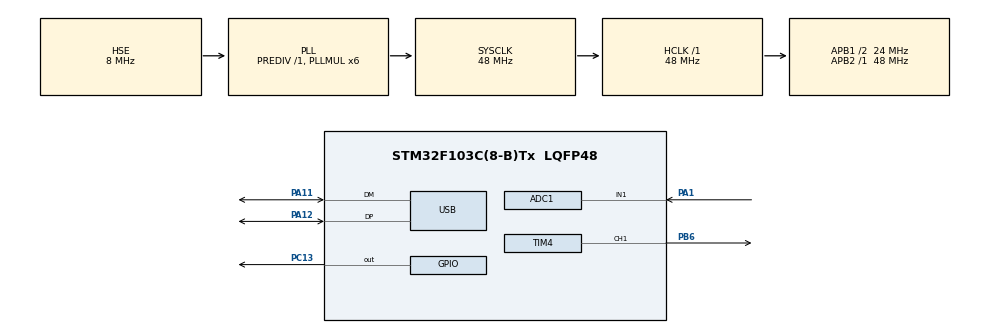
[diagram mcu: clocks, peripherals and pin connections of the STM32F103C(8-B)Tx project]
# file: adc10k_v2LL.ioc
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ADC1.Channel-0\#ChannelRegularConversion=ADC_CHANNEL_1
ADC1.ContinuousConvMode=DISABLE
ADC1.ExternalTrigConv=ADC_EXTERNALTRIGCONV_T3_TRGO
ADC1.NbrOfConversion=1
ADC1.NbrOfConversionFlag=1
ADC1.Rank-0\#ChannelRegularConversion=1
ADC1.SamplingTime-0\#ChannelRegularConversion=ADC_SAMPLETIME_55CYCLES_5
ADC1.master=1
Dma.ADC1.0.Direction=DMA_PERIPH_TO_MEMORY
Dma.ADC1.0.Instance=DMA1_Channel1
Dma.ADC1.0.MemDataAlignment=DMA_MDATAALIGN_HALFWORD
Dma.ADC1.0.MemInc=DMA_MINC_ENABLE
Dma.ADC1.0.Mode=DMA_CIRCULAR
Dma.ADC1.0.PeriphDataAlignment=DMA_PDATAALIGN_HALFWORD
Dma.ADC1.0.PeriphInc=DMA_PINC_DISABLE
Dma.ADC1.0.Priority=DMA_PRIORITY_LOW
Dma.Request0=ADC1
Mcu.Family=STM32F1
Mcu.Name=STM32F103C(8-B)Tx
Mcu.Package=LQFP48
NVIC.DMA1_Channel1_IRQn=true\:0\:0\:false\:false\:true\:false\:true
NVIC.PriorityGroup=NVIC_PRIORITYGROUP_4
NVIC.USB_LP_CAN1_RX0_IRQn=true\:0\:0\:false\:false\:true\:false\:true
PA1.Signal=ADCx_IN1
PA11.Mode=Device
PA11.Signal=USB_DM
PA12.Mode=Device
PA12.Signal=USB_DP
PA13.Mode=Serial_Wire
PA13.Signal=SYS_JTMS-SWDIO
PA14.Mode=Serial_Wire
PA14.Signal=SYS_JTCK-SWCLK
PB6.GPIO_ModeDefaultPP=GPIO_MODE_AF_PP
PB6.GPIO_Speed=GPIO_SPEED_FREQ_LOW
PB6.Signal=S_TIM4_CH1
PC13-TAMPER-RTC.Signal=GPIO_Output
PC14-OSC32_IN.Mode=LSE-External-Oscillator
PC14-OSC32_IN.Signal=RCC_OSC32_IN
PC15-OSC32_OUT.Mode=LSE-External-Oscillator
PC15-OSC32_OUT.Signal=RCC_OSC32_OUT
PD0-OSC_IN.Mode=HSE-External-Oscillator
PD0-OSC_IN.Signal=RCC_OSC_IN
PD1-OSC_OUT.Mode=HSE-External-Oscillator
PD1-OSC_OUT.Signal=RCC_OSC_OUT
ProjectManager.HeapSize=0x200
ProjectManager.StackSize=0x400
ProjectManager.TargetToolchain=MDK-ARM V5.27
RCC.ADCPresc=RCC_ADCPCLK2_DIV4
RCC.AHBFreq_Value=48000000
RCC.APB1CLKDivider=RCC_HCLK_DIV2
RCC.APB1Freq_Value=24000000
RCC.APB1TimFreq_Value=48000000
RCC.APB2Freq_Value=48000000
RCC.APB2TimFreq_Value=48000000
RCC.HCLKFreq_Value=48000000
RCC.PLLMUL=RCC_PLL_MUL6
RCC.PLLSourceVirtual=RCC_PLLSOURCE_HSE
RCC.SYSCLKFreq_VALUE=48000000
RCC.SYSCLKSource=RCC_SYSCLKSOURCE_PLLCLK
RCC.USBFreq_Value=48000000
SH.ADCx_IN1.0=ADC1_IN1,IN1
SH.S_TIM4_CH1.0=TIM4_CH1,PWM Generation1 CH1
TIM3.AutoReloadPreload=TIM_AUTORELOAD_PRELOAD_DISABLE
TIM3.Channel-Output\ Compare4\ No\ Output=TIM_CHANNEL_4
TIM3.Period=10
TIM3.Prescaler=480
TIM3.TIM_MasterOutputTrigger=TIM_TRGO_UPDATE
TIM4.Channel-PWM\ Generation1\ CH1=TIM_CHANNEL_1
TIM4.OCFastMode_PWM-PWM\ Generation1\ CH1=TIM_OCFAST_ENABLE
TIM4.Period=1000
TIM4.Prescaler=480
USB_DEVICE.CLASS_NAME_FS=CDC
USB_DEVICE.VirtualMode=Cdc
USB_DEVICE.VirtualModeFS=Cdc_FS
VP_TIM3_VS_ClockSourceINT.Mode=Internal
VP_TIM3_VS_no_output4.Mode=Output Compare4 No Output
VP_TIM4_VS_ClockSourceINT.Mode=Internal
VP_USB_DEVICE_VS_USB_DEVICE_CDC_FS.Mode=CDC_FS
board=custom

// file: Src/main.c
/* USER CODE BEGIN Header */
/**
  ******************************************************************************
  * @author         : Andrei Cherny
  * @file           : main.c
  * @brief          : Test STM32F103C8 program body
  ******************************************************************************
  * @details
  * Назначение программы:
  * С частотой 10 кГц, по таймеру, программа опрашивает один канал ADC
  * Результаты измерений помещаются в буфер с использованием DMA
  * По заполнению буфера (100 слов), вычисляется среднее значение за 10 мс
  * Полученное среднее значение выводится PWM на один из выводов.
  * Вычисляется среднее значение измерений за 1с и выводится через USB, на VCP в текстовом виде
  * Это же среднее значение выводится через SWO (по отладке) в среду Keil uVision.
  * Благодаря STM32CubeMX все делается достаточно просто. Большая часть программирования выполненна автоматической средой.
  * Ручной код получается очень компактным и весь сосредоточен в файле main.c .
  * Принцип работы платы очень прост. На вход ADC1 IN1 (PA1, pin11) поступает измеряемое напряжение. С помощью таймера TIM3 channel 4
  * организован циклический опрос ADC1 IN1 с частотой 10 кГц и загрузкой измеренных значений с помощью DMA1 в буфер. По заполнению буфера
  * вызывается ADC_DMA_TransferComplete_Callback() и переводит переменную convCompleted в True.
  * После чего находим среднее арифметическое bufferADC за 10 мс.
  * Полученное значение мы выводим через pin PB6 используя PWM реализованный на таймере TIM4 channel 1.
  * Проведя 100 циклов по 10 мс мы находим среднее значение за 1с мы выводим результат через USB VCP в текстовом виде, в формате типа "1500 mV \r".
  * Вывод результата мы дублируем в окно отладчика Keil через SWD.
  * @attention
  *
  * <h2><center>&copy; Copyright (c) 2020 Andrei Cherny.
  * All rights reserved.</center></h2>
  *
  * This software component is licensed by Andrei Cherny under Ultimate Liberty license
  * SLA0044, the "License"; You may not use this file except in compliance with
  * the License. You may obtain a copy of the License at:
  *                             www.st.com/SLA0044
  *
  ******************************************************************************
*/
/* USER CODE END Header */

#include "main.h"
#include "usb_device.h"

/* USER CODE BEGIN Includes */
#include "string.h"
#include "usbd_cdc_if.h"
/* USER CODE END Includes */

/* USER CODE BEGIN PD */
#define DMA_BUFF_SIZE 100
/* USER CODE END PD */

/* USER CODE BEGIN PV */
uint32_t sum100point;
uint16_t bufferADC[DMA_BUFF_SIZE];
volatile uint8_t convCompleted;
/* USER CODE END PV */

void SystemClock_Config(void);
static void MX_GPIO_Init(void);
static void MX_DMA_Init(void);
static void MX_ADC1_Init(void);
static void MX_TIM3_Init(void);
static void MX_TIM4_Init(void);
/* USER CODE BEGIN PFP */
// кусок для SWO
#include <stdio.h>
#define ITM_Port8(n)    (*((volatile unsigned char *)(0xE0000000+4*n)))
#define ITM_Port16(n)   (*((volatile unsigned short*)(0xE0000000+4*n)))
#define ITM_Port32(n)   (*((volatile unsigned long *)(0xE0000000+4*n)))
#define DEMCR           (*((volatile unsigned long *)(0xE000EDFC)))
#define TRCENA          0x01000000

struct __FILE { int handle; /* Add whatever you need here */ };
FILE __stdout;
FILE __stdin;

int fputc(int ch, FILE *f) {
   if (DEMCR & TRCENA) {

while (ITM_Port32(0) == 0);
    ITM_Port8(0) = ch;
  }
  return(ch);
}
/* USER CODE END PFP */

int main(void)
{
  /* USER CODE BEGIN 1 */
	float summ,value100;
	char bufForUSB[80];

  /* USER CODE END 1 */

  /* MCU Configuration--------------------------------------------------------*/

  /* Reset of all peripherals, Initializes the Flash interface and the Systick. */
  HAL_Init();

  /* Configure the system clock */
  SystemClock_Config();

  /* Initialize all configured peripherals */
  MX_GPIO_Init();
  MX_DMA_Init();
  MX_USB_DEVICE_Init();
  MX_ADC1_Init();
  MX_TIM3_Init();
  MX_TIM4_Init();
  /* USER CODE BEGIN 2 */
/*!
Настраиваем ассоциированный с ADC1 канал DMA1
@param[out] bufferADC Целевая область памяти для DMA1
@param[in] DMA_BUFF_SIZE Количество измерений и размер буффера
*/
  LL_DMA_ConfigAddresses(DMA1,
                         LL_DMA_CHANNEL_1,
                         LL_ADC_DMA_GetRegAddr(ADC1, LL_ADC_DMA_REG_REGULAR_DATA),
                         (uint32_t)&bufferADC,
                         LL_DMA_DIRECTION_PERIPH_TO_MEMORY);
  LL_DMA_SetDataLength(DMA1, LL_DMA_CHANNEL_1, DMA_BUFF_SIZE);
  LL_DMA_EnableIT_TC(DMA1, LL_DMA_CHANNEL_1);
  LL_DMA_EnableIT_TE(DMA1, LL_DMA_CHANNEL_1);
  LL_DMA_EnableChannel(DMA1, LL_DMA_CHANNEL_1);
  LL_ADC_Enable(ADC1);
  LL_ADC_REG_StartConversionSWStart(ADC1); // запускаем ADC
	LL_TIM_EnableCounter(TIM3); // пускаем таймер ADC

/*!
Настраиваем ассоциированный с PWM канал 1 на таймере 4
выходной сигнал имеем на ножке PB6
*/
 LL_TIM_CC_EnableChannel(TIM4, LL_TIM_CHANNEL_CH1 | LL_TIM_CHANNEL_CH2 | \
                          LL_TIM_CHANNEL_CH3 | LL_TIM_CHANNEL_CH4);
  LL_TIM_EnableCounter(TIM4);

  /* USER CODE END 2 */

  /* Infinite loop */
  while (1)
  {

    /* USER CODE BEGIN 3 */
/*! в задании не оговаривалась особая точность временных интервалов,
1 с отслеживаем как последовательность 10 мс интервалов
усредняем 100 10мс средних значения (1с) и выводим через USB-VPC
@param  sum100point аккумулятор и среднее значение ADC1 за 10 мс
@param  value100    среднее значение ADC1 за 10 мс в мВ
@param  summ        аккумулятор и среднее значение ADC1 в мВ за 1 с
*/
		sum100point =0;
		summ = 0;
		for (int j=0; j++<100;){
		while(!convCompleted); // ждем готовность измерений
		convCompleted = 0; // сбрасываем флаг готовности
		sum100point =0;
		for(int i = 0; i < DMA_BUFF_SIZE; i++)
		{
			sum100point = bufferADC[i];
		}
		sum100point /=100; // среднее за 10 мс в единицах
		value100 = (float)(sum100point * 3300 ) / 4095.;// нормируем по опорному
		summ += value100;
		// устанавливаем уровень ШИМ, пересчет масштаба не требуется
		 LL_TIM_OC_SetCompareCH1(TIM4,sum100point);
	  }
		// кидаем результат на USB
		summ /=100;
		snprintf(bufForUSB, 80, " %f  mV \r", summ );
		CDC_Transmit_FS((uint8_t*)bufForUSB, strlen(bufForUSB));
		// дублируем вывод на SWD
		 printf("%s", bufForUSB);
	}
  /* USER CODE END 3 */
}

void SystemClock_Config(void)
{
  RCC_OscInitTypeDef RCC_OscInitStruct = {0};
  RCC_ClkInitTypeDef RCC_ClkInitStruct = {0};
  RCC_PeriphCLKInitTypeDef PeriphClkInit = {0};

  /** Initializes the CPU, AHB and APB busses clocks
  */
  RCC_OscInitStruct.OscillatorType = RCC_OSCILLATORTYPE_HSE;
  RCC_OscInitStruct.HSEState = RCC_HSE_ON;
  RCC_OscInitStruct.HSEPredivValue = RCC_HSE_PREDIV_DIV1;
  RCC_OscInitStruct.HSIState = RCC_HSI_ON;
  RCC_OscInitStruct.PLL.PLLState = RCC_PLL_ON;
  RCC_OscInitStruct.PLL.PLLSource = RCC_PLLSOURCE_HSE;
  RCC_OscInitStruct.PLL.PLLMUL = RCC_PLL_MUL6;
  if (HAL_RCC_OscConfig(&RCC_OscInitStruct) != HAL_OK)
  {
    Error_Handler();
  }
  /** Initializes the CPU, AHB and APB busses clocks
  */
  RCC_ClkInitStruct.ClockType = RCC_CLOCKTYPE_HCLK|RCC_CLOCKTYPE_SYSCLK
                              |RCC_CLOCKTYPE_PCLK1|RCC_CLOCKTYPE_PCLK2;
  RCC_ClkInitStruct.SYSCLKSource = RCC_SYSCLKSOURCE_PLLCLK;
  RCC_ClkInitStruct.AHBCLKDivider = RCC_SYSCLK_DIV1;
  RCC_ClkInitStruct.APB1CLKDivider = RCC_HCLK_DIV2;
  RCC_ClkInitStruct.APB2CLKDivider = RCC_HCLK_DIV1;

  if (HAL_RCC_ClockConfig(&RCC_ClkInitStruct, FLASH_LATENCY_1) != HAL_OK)
  {
    Error_Handler();
  }
  PeriphClkInit.PeriphClockSelection = RCC_PERIPHCLK_ADC|RCC_PERIPHCLK_USB;
  PeriphClkInit.AdcClockSelection = RCC_ADCPCLK2_DIV4;
  PeriphClkInit.UsbClockSelection = RCC_USBCLKSOURCE_PLL;
  if (HAL_RCCEx_PeriphCLKConfig(&PeriphClkInit) != HAL_OK)
  {
    Error_Handler();
  }
}

static void MX_ADC1_Init(void)
{

  LL_ADC_InitTypeDef ADC_InitStruct = {0};
  LL_ADC_CommonInitTypeDef ADC_CommonInitStruct = {0};
  LL_ADC_REG_InitTypeDef ADC_REG_InitStruct = {0};

  LL_GPIO_InitTypeDef GPIO_InitStruct = {0};

  /* Peripheral clock enable */
  LL_APB2_GRP1_EnableClock(LL_APB2_GRP1_PERIPH_ADC1);

  LL_APB2_GRP1_EnableClock(LL_APB2_GRP1_PERIPH_GPIOA);
  /**ADC1 GPIO Configuration
  PA1   ------> ADC1_IN1
  */
  GPIO_InitStruct.Pin = LL_GPIO_PIN_1;
  GPIO_InitStruct.Mode = LL_GPIO_MODE_ANALOG;
  LL_GPIO_Init(GPIOA, &GPIO_InitStruct);

  /* ADC1 DMA Init */

  /* ADC1 Init */
  LL_DMA_SetDataTransferDirection(DMA1, LL_DMA_CHANNEL_1, LL_DMA_DIRECTION_PERIPH_TO_MEMORY);

  LL_DMA_SetChannelPriorityLevel(DMA1, LL_DMA_CHANNEL_1, LL_DMA_PRIORITY_LOW);

  LL_DMA_SetMode(DMA1, LL_DMA_CHANNEL_1, LL_DMA_MODE_CIRCULAR);

  LL_DMA_SetPeriphIncMode(DMA1, LL_DMA_CHANNEL_1, LL_DMA_PERIPH_NOINCREMENT);

  LL_DMA_SetMemoryIncMode(DMA1, LL_DMA_CHANNEL_1, LL_DMA_MEMORY_INCREMENT);

  LL_DMA_SetPeriphSize(DMA1, LL_DMA_CHANNEL_1, LL_DMA_PDATAALIGN_HALFWORD);

  LL_DMA_SetMemorySize(DMA1, LL_DMA_CHANNEL_1, LL_DMA_MDATAALIGN_HALFWORD);

  /** Common config
  */
  ADC_InitStruct.DataAlignment = LL_ADC_DATA_ALIGN_RIGHT;
  ADC_InitStruct.SequencersScanMode = LL_ADC_SEQ_SCAN_DISABLE;
  LL_ADC_Init(ADC1, &ADC_InitStruct);
  ADC_CommonInitStruct.Multimode = LL_ADC_MULTI_INDEPENDENT;
  LL_ADC_CommonInit(__LL_ADC_COMMON_INSTANCE(ADC1), &ADC_CommonInitStruct);
  ADC_REG_InitStruct.TriggerSource = LL_ADC_REG_TRIG_EXT_TIM3_TRGO;
  ADC_REG_InitStruct.SequencerLength = LL_ADC_REG_SEQ_SCAN_DISABLE;
  ADC_REG_InitStruct.SequencerDiscont = LL_ADC_REG_SEQ_DISCONT_DISABLE;
  ADC_REG_InitStruct.ContinuousMode = LL_ADC_REG_CONV_SINGLE;
  ADC_REG_InitStruct.DMATransfer = LL_ADC_REG_DMA_TRANSFER_UNLIMITED;
  LL_ADC_REG_Init(ADC1, &ADC_REG_InitStruct);
  /** Configure Regular Channel
  */
  LL_ADC_REG_SetSequencerRanks(ADC1, LL_ADC_REG_RANK_1, LL_ADC_CHANNEL_1);
  LL_ADC_SetChannelSamplingTime(ADC1, LL_ADC_CHANNEL_1, LL_ADC_SAMPLINGTIME_55CYCLES_5);

}

static void MX_TIM3_Init(void)
{

  LL_TIM_InitTypeDef TIM_InitStruct = {0};
  LL_TIM_OC_InitTypeDef TIM_OC_InitStruct = {0};

  /* Peripheral clock enable */
  LL_APB1_GRP1_EnableClock(LL_APB1_GRP1_PERIPH_TIM3);

  TIM_InitStruct.Prescaler = 480;
  TIM_InitStruct.CounterMode = LL_TIM_COUNTERMODE_UP;
  TIM_InitStruct.Autoreload = 10;
  TIM_InitStruct.ClockDivision = LL_TIM_CLOCKDIVISION_DIV1;
  LL_TIM_Init(TIM3, &TIM_InitStruct);
  LL_TIM_DisableARRPreload(TIM3);
  LL_TIM_SetClockSource(TIM3, LL_TIM_CLOCKSOURCE_INTERNAL);
  TIM_OC_InitStruct.OCMode = LL_TIM_OCMODE_FROZEN;
  TIM_OC_InitStruct.OCState = LL_TIM_OCSTATE_DISABLE;
  TIM_OC_InitStruct.OCNState = LL_TIM_OCSTATE_DISABLE;
  TIM_OC_InitStruct.CompareValue = 0;
  TIM_OC_InitStruct.OCPolarity = LL_TIM_OCPOLARITY_HIGH;
  LL_TIM_OC_Init(TIM3, LL_TIM_CHANNEL_CH4, &TIM_OC_InitStruct);
  LL_TIM_OC_DisableFast(TIM3, LL_TIM_CHANNEL_CH4);
  LL_TIM_SetTriggerOutput(TIM3, LL_TIM_TRGO_UPDATE);
  LL_TIM_DisableMasterSlaveMode(TIM3);

}

static void MX_TIM4_Init(void)
{

  LL_TIM_InitTypeDef TIM_InitStruct = {0};
  LL_TIM_OC_InitTypeDef TIM_OC_InitStruct = {0};

  LL_GPIO_InitTypeDef GPIO_InitStruct = {0};

  /* Peripheral clock enable */
  LL_APB1_GRP1_EnableClock(LL_APB1_GRP1_PERIPH_TIM4);

  TIM_InitStruct.Prescaler = 480;
  TIM_InitStruct.CounterMode = LL_TIM_COUNTERMODE_UP;
  TIM_InitStruct.Autoreload = 1000;
  TIM_InitStruct.ClockDivision = LL_TIM_CLOCKDIVISION_DIV1;
  LL_TIM_Init(TIM4, &TIM_InitStruct);
  LL_TIM_DisableARRPreload(TIM4);
  LL_TIM_SetClockSource(TIM4, LL_TIM_CLOCKSOURCE_INTERNAL);
  LL_TIM_OC_EnablePreload(TIM4, LL_TIM_CHANNEL_CH1);
  TIM_OC_InitStruct.OCMode = LL_TIM_OCMODE_PWM1;
  TIM_OC_InitStruct.OCState = LL_TIM_OCSTATE_DISABLE;
  TIM_OC_InitStruct.OCNState = LL_TIM_OCSTATE_DISABLE;
  TIM_OC_InitStruct.CompareValue = 0;
  TIM_OC_InitStruct.OCPolarity = LL_TIM_OCPOLARITY_HIGH;
  LL_TIM_OC_Init(TIM4, LL_TIM_CHANNEL_CH1, &TIM_OC_InitStruct);
  LL_TIM_OC_EnableFast(TIM4, LL_TIM_CHANNEL_CH1);
  LL_TIM_SetTriggerOutput(TIM4, LL_TIM_TRGO_RESET);
  LL_TIM_DisableMasterSlaveMode(TIM4);
  LL_APB2_GRP1_EnableClock(LL_APB2_GRP1_PERIPH_GPIOB);
  /**TIM4 GPIO Configuration
  PB6   ------> TIM4_CH1
  */
  GPIO_InitStruct.Pin = LL_GPIO_PIN_6;
  GPIO_InitStruct.Mode = LL_GPIO_MODE_ALTERNATE;
  GPIO_InitStruct.Speed = LL_GPIO_SPEED_FREQ_LOW;
  GPIO_InitStruct.OutputType = LL_GPIO_OUTPUT_PUSHPULL;
  LL_GPIO_Init(GPIOB, &GPIO_InitStruct);

}

static void MX_DMA_Init(void)
{

  /* Init with LL driver */
  /* DMA controller clock enable */
  LL_AHB1_GRP1_EnableClock(LL_AHB1_GRP1_PERIPH_DMA1);

  /* DMA interrupt init */
  /* DMA1_Channel1_IRQn interrupt configuration */
  NVIC_SetPriority(DMA1_Channel1_IRQn, NVIC_EncodePriority(NVIC_GetPriorityGrouping(),0, 0));
  NVIC_EnableIRQ(DMA1_Channel1_IRQn);

}

static void MX_GPIO_Init(void)
{
  GPIO_InitTypeDef GPIO_InitStruct = {0};

  /* GPIO Ports Clock Enable */
  __HAL_RCC_GPIOC_CLK_ENABLE();
  __HAL_RCC_GPIOD_CLK_ENABLE();
  __HAL_RCC_GPIOA_CLK_ENABLE();
  __HAL_RCC_GPIOB_CLK_ENABLE();

  /*Configure GPIO pin Output Level */
  HAL_GPIO_WritePin(GPIOC, GPIO_PIN_13, GPIO_PIN_RESET);

  /*Configure GPIO pin : PC13 */
  GPIO_InitStruct.Pin = GPIO_PIN_13;
  GPIO_InitStruct.Mode = GPIO_MODE_OUTPUT_PP;
  GPIO_InitStruct.Pull = GPIO_NOPULL;
  GPIO_InitStruct.Speed = GPIO_SPEED_FREQ_LOW;
  HAL_GPIO_Init(GPIOC, &GPIO_InitStruct);

}

/* USER CODE BEGIN 4 */
/**
  * @brief Выставляет в True флаг окончания ADC_DMA серии
  * @param None
  * @retval None
  */
void ADC_DMA_TransferComplete_Callback()
{
  convCompleted = 1;
}
/* USER CODE END 4 */

void Error_Handler(void)
{
}

/************************ (C) COPYRIGHT STMicroelectronics *****END OF FILE****/
